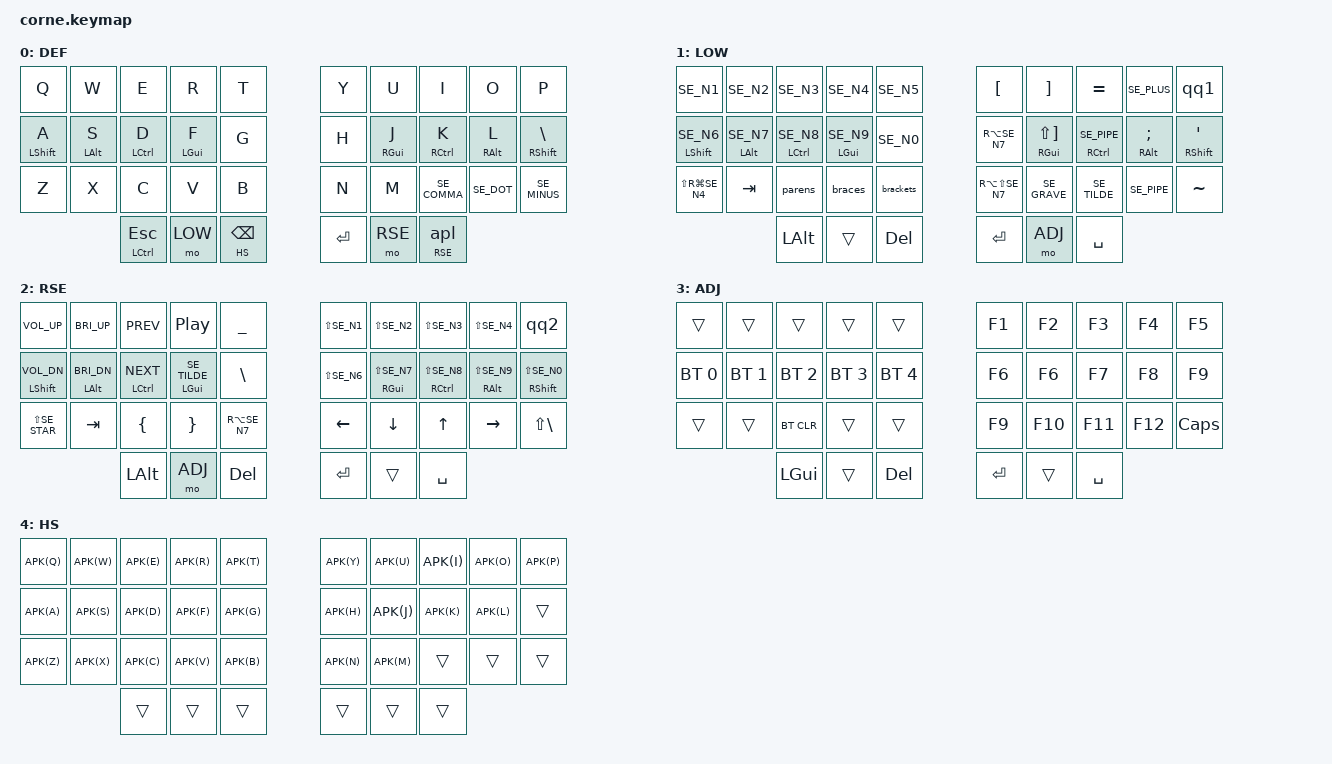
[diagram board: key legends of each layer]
#include <behaviors.dtsi>
#include <dt-bindings/zmk/keys.h>
#include <dt-bindings/zmk/bt.h>
#include "corne_constants.h"
#include "keys_se.h"

#define DEF 0
#define LOW 1
#define RSE 2
#define ADJ 3
#define HS  4

#define APK(X) RS(RG(RC(X))) 

&mt {
    tapping-term-ms = <TAP_TERM>;
    quick-tap-ms = <QUICK_TAP_TERM>;
    flavor = "balanced";
    require-prior-idle-ms = <COMBO_TIMEOUT>;
};

&lt {
    tapping-term-ms = <TAP_TERM>;
    quick-tap-ms = <QUICK_TAP_TERM>;
    flavor = "balanced";
    require-prior-idle-ms = <COMBO_TIMEOUT>;
};

/ {
  combos {
    #include "combos.dtsi"
  };
  chosen {
    zmk,matrix-transform = &five_column_transform;
  };
  behaviors {
    hm: homerow_mods {
      compatible = "zmk,behavior-hold-tap";
      label = "HOMEROW_MODS";
      #binding-cells = <2>;
      tapping-term-ms = <TAP_TERM>;
      quick-tap-ms = <QUICK_TAP_TERM>;
      flavor = "balanced";
      require-prior-idle-ms = <COMBO_TIMEOUT>;
      bindings = <&kp>, <&kp>;
    };
    braces: braces {
      compatible = "zmk,behavior-macro";
      label = "BRACES";
      #binding-cells = <0>;
      bindings = <&kp LS(RA(SE_N8))>, <&kp LS(RA(SE_N9))>, <&kp ESC>, <&kp I>;
    };
    parens: parens {
      compatible = "zmk,behavior-macro";
      label = "PARENS";
      #binding-cells = <0>;
      bindings = <&kp LS(SE_N8)>, <&kp LS(SE_N9)>, <&kp ESC>, <&kp I>;
    };
    brackets: brackets {
      compatible = "zmk,behavior-macro";
      label = "BRACKETS";
      #binding-cells = <0>;
      bindings = <&kp RA(SE_N8)>, <&kp RA(SE_N9)>, <&kp ESC>, <&kp I>;
    };
    ds_apl: ds_apl {
      compatible = "zmk,behavior-macro";
      label = "APL";
      #binding-cells = <0>;
      bindings = <&kp DOT>, <&kp SPACE>;
    };
    qq1: tap_dance_1 {
      compatible = "zmk,behavior-tap-dance";
      label = "TAP_DANCE_1";
      #binding-cells = <0>;
      tapping-term-ms = <200>;
      bindings = <&kp SE_A_RING>, <&kp LS(SE_PLUS)>;
    };
    qq2: tap_dance_2 {
      compatible = "zmk,behavior-tap-dance";
      label = "TAP_DANCE_2";
      #binding-cells = <0>;
      tapping-term-ms = <200>;
      bindings = <&kp LS(SE_N5)>, <&kp LS(SE_PLUS)>;
    };
    apl: tap_dance_apl {
      compatible = "zmk,behavior-tap-dance";
      label = "TAP_DANCE_APL";
      #binding-cells = <0>;
      tapping-term-ms = <200>;
      bindings = <&kp SPACE>, <&ds_apl>;
    };
    moto: behavior_mo_tog {
      compatible = "zmk,behavior-hold-tap";
      #binding-cells = <2>;
      flavor = "tap-preferred";
      tapping-term-ms = <200>;
      bindings = <&mo>, <&apl>;
    };
  };
  keymap {
    compatible = "zmk,keymap";

    default_layer {
      label = "DEF";
      bindings = <
	  &kp Q        &kp W      &kp E         &kp R      &kp T             &kp Y        &kp U      &kp I        &kp O      &kp P           
	  &hm LSHIFT A &hm LALT S &hm LCTRL D   &hm LGUI F &kp G             &kp H        &hm RGUI J &hm RCTRL K  &hm RALT L &hm RSHIFT BSLH 
	  &kp Z        &kp X      &kp C         &kp V      &kp B             &kp N        &kp M      &kp SE_COMMA &kp SE_DOT &kp SE_MINUS    
	                          &mt LCTRL ESC &mo LOW    &lt HS BSPC       &kp RET      &mo RSE    &moto RSE 0
	>;
    };

    lower_layer {
      label = "LOW";
      bindings = <
	  &kp SE_N1         &kp SE_N2      &kp SE_N3       &kp SE_N4      &kp SE_N5           &kp LBKT           &kp RBKT          &kp EQUAL         &kp SE_PLUS   &qq1           
	  &hm LSHIFT SE_N6  &hm LALT SE_N7 &hm LCTRL SE_N8 &hm LGUI SE_N9 &kp SE_N0           &kp RA(SE_N7)      &hm RGUI LS(RBKT) &hm RCTRL SE_PIPE &hm RALT SEMI &hm RSHIFT SQT 
	  &kp LS(RG(SE_N4)) &kp TAB        &parens         &braces        &brackets           &kp RA(LS(SE_N7))  &kp SE_GRAVE      &kp SE_TILDE      &kp SE_PIPE   &kp TILDE      
	                                   &kp LALT        &trans         &kp DEL             &kp RET            &mo ADJ           &kp SPACE
	>;
    };

    raise_layer {
      label = "RSE";
      bindings = <
	  &kp C_VOL_UP        &kp C_BRI_UP      &kp C_PREV       &kp C_PP          &kp UNDER            &kp LS(SE_N1) &kp LS(SE_N2)      &kp LS(SE_N3)       &kp LS(SE_N4)      &qq2                 
	  &hm LSHIFT C_VOL_DN &hm LALT C_BRI_DN &hm LCTRL C_NEXT &hm LGUI SE_TILDE &kp BSLH             &kp LS(SE_N6) &hm RGUI LS(SE_N7) &hm RCTRL LS(SE_N8) &hm RALT LS(SE_N9) &hm RSHIFT LS(SE_N0) 
	  &kp LS(SE_STAR)     &kp TAB           &kp LBRC         &kp RBRC          &kp RA(SE_N7)        &kp LEFT      &kp DOWN           &kp UP              &kp RIGHT          &kp LS(BSLH)         
                                                &kp LALT         &mo ADJ           &kp DEL              &kp RET       &trans             &kp SPACE
	>;
    };
    
    adjust_layer {
      label = "ADJ";
      bindings = <
          &trans       &trans       &trans        &trans       &trans             &kp F1  &kp F2  &kp F3  &kp F4  &kp F5   
	  &bt BT_SEL 0 &bt BT_SEL 1 &bt BT_SEL 2  &bt BT_SEL 3 &bt BT_SEL 4       &kp F6  &kp F6  &kp F7  &kp F8  &kp F9   
	  &trans       &trans       &bt BT_CLR    &trans       &trans             &kp F9  &kp F10 &kp F11 &kp F12 &kp CAPS 
	                            &kp LGUI      &trans       &kp DEL            &kp RET &trans  &kp SPACE
        >;
    };

    hammerspoon_layer {
      label = "HS";
      bindings = <
	  &kp APK(Q) &kp APK(W) &kp APK(E) &kp APK(R) &kp APK(T)         &kp APK(Y) &kp APK(U) &kp APK(I) &kp APK(O) &kp APK(P)
	  &kp APK(A) &kp APK(S) &kp APK(D) &kp APK(F) &kp APK(G)         &kp APK(H) &kp APK(J) &kp APK(K) &kp APK(L) &trans
	  &kp APK(Z) &kp APK(X) &kp APK(C) &kp APK(V) &kp APK(B)         &kp APK(N) &kp APK(M) &trans     &trans     &trans
	                        &trans     &trans     &trans             &trans     &trans     &trans
	>;
    };
  };
};
